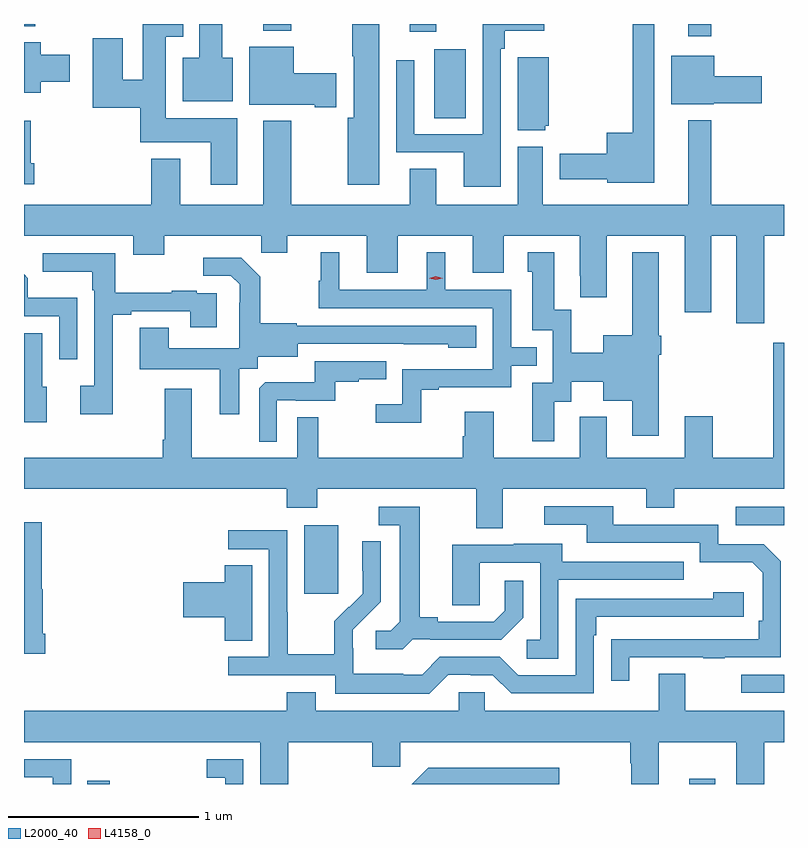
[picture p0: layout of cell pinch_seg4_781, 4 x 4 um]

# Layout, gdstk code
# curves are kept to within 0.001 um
import gdstk
lib = gdstk.Library(unit=1e-6, precision=1e-09)
def R(c, l, rs):  # rectangles x0, y0, x1, y1
    for r in rs: c.add(gdstk.rectangle(r[:2], r[2:], *l))
def P(c, l, *ps):  # polygons
    for p in ps: c.add(gdstk.Polygon(p, *l))
L2000_40 = (2000, 40)
L4158_0 = (4158, 0)

pinch_seg4_781 = lib.new_cell('pinch_seg4_781')
R(pinch_seg4_781, L2000_40, [(795.772,825.903,795.891,825.919), (798.941,825.903,799.077,825.931), (799.215,826.383,799.439,826.479), (796.913,826.905,797.092,827.266), (799.185,827.265,799.439,827.361), (797.597,829.408,797.764,829.771), (798.935,829.839,799.057,829.903), (797.468,829.863,797.608,829.903), (796.697,829.868,796.845,829.903), (795.439,829.892,795.497,829.903)])
P(pinch_seg4_781, L2000_40, [(797.949,829.772),(797.969,829.772),(797.969,829.868),(798.178,829.868),(798.178,829.903),(797.853,829.903),(797.853,829.323),(797.493,829.323),(797.493,829.711),(797.397,829.711),(797.397,829.227),(797.753,829.227),(797.753,829.046),(797.949,829.046)],
  [(796.537,829.726),(796.483,829.726),(796.483,829.903),(796.361,829.903),(796.361,829.726),(796.274,829.726),(796.274,829.496),(796.537,829.496)],
  [(798.757,829.903),(798.643,829.903),(798.643,829.33),(798.506,829.33),(798.506,829.22),(798.258,829.22),(798.258,829.085),(798.51,829.085),(798.51,829.067),(798.757,829.067)],
  [(797.308,829.903),(797.167,829.903),(797.167,829.732),(797.174,829.732),(797.174,829.41),(797.143,829.41),(797.143,829.056),(797.308,829.056)],
  [(796.561,829.408),(796.186,829.408),(796.186,829.835),(796.276,829.835),(796.276,829.903),(796.064,829.903),(796.064,829.61),(795.958,829.61),(795.958,829.828),(795.8,829.828),(795.8,829.463),(796.052,829.463),(796.052,829.28),(796.421,829.28),(796.421,829.056),(796.561,829.056)],
  [(795.526,829.598),(795.679,829.598),(795.679,829.74),(795.526,829.74),(795.526,829.807),(795.439,829.807),(795.439,829.542),(795.526,829.542)],
  [(797.083,829.644),(796.858,829.644),(796.858,829.783),(796.625,829.783),(796.625,829.478),(796.97,829.478),(796.97,829.466),(797.083,829.466)],
  [(799.068,829.487),(799.321,829.487),(799.321,829.629),(799.072,829.629),(799.072,829.735),(798.845,829.735),(798.845,829.481),(799.068,829.481)],
  [(798.183,829.368),(798.202,829.368),(798.202,829.729),(798.038,829.729),(798.038,829.343),(798.183,829.343)],
  [(799.335,828.788),(799.439,828.788),(799.439,828.952),(799.057,828.952),(799.057,829.396),(798.935,829.396),(798.935,828.952),(798.169,828.952),(798.169,829.258),(798.038,829.258),(798.038,828.952),(797.608,828.952),(797.608,829.142),(797.468,829.142),(797.468,828.952),(796.845,828.952),(796.845,829.393),(796.697,829.393),(796.697,828.952),(796.261,828.952),(796.261,829.195),(796.109,829.195),(796.109,828.952),(795.439,828.952),(795.439,828.788),(796.013,828.788),(796.013,828.689),(796.177,828.689),(796.177,828.788),(796.687,828.788),(796.687,828.698),(796.825,828.698),(796.825,828.788),(797.243,828.788),(797.243,828.594),(797.407,828.594),(797.407,828.788),(797.801,828.788),(797.801,828.594),(797.965,828.594),(797.965,828.788),(798.365,828.788),(798.365,828.577),(798.366,828.577),(798.366,828.465),(798.505,828.465),(798.505,828.788),(798.917,828.788),(798.917,828.387),(799.057,828.387),(799.057,828.788),(799.187,828.788),(799.187,828.327),(799.335,828.327)],
  [(795.494,829.171),(795.474,829.171),(795.474,829.393),(795.439,829.393),(795.439,829.059),(795.494,829.059)],
  [(797.529,827.979),(797.623,827.979),(797.623,827.991),(798.003,827.991),(798.003,828.105),(798.137,828.105),(798.137,828.201),(798.003,828.201),(798.003,828.504),(797.656,828.504),(797.656,828.703),(797.558,828.703),(797.558,828.504),(797.098,828.504),(797.098,828.703),(797,828.703),(797,828.552),(796.989,828.552),(796.989,828.408),(797.907,828.408),(797.907,828.087),(797.43,828.087),(797.43,827.902),(797.289,827.902),(797.289,827.804),(797.529,827.804)],
  [(798.229,827.914),(798.319,827.914),(798.319,828.02),(798.488,828.02),(798.488,827.921),(798.641,827.921),(798.641,827.736),(798.781,827.736),(798.781,828.161),(798.794,828.161),(798.794,828.261),(798.781,828.261),(798.781,828.703),(798.641,828.703),(798.641,828.265),(798.488,828.265),(798.488,828.172),(798.318,828.172),(798.318,828.399),(798.229,828.399),(798.229,828.703),(798.089,828.703),(798.089,828.6),(798.113,828.6),(798.113,828.291),(798.222,828.291),(798.222,828.015),(798.113,828.015),(798.113,827.706),(798.229,827.706)],
  [(795.907,828.372),(796.003,828.372),(796.003,828.39),(796.313,828.39),(796.313,828.306),(796.453,828.306),(796.453,828.486),(796.349,828.486),(796.349,828.499),(796.217,828.499),(796.217,828.488),(795.919,828.488),(795.919,828.696),(795.537,828.696),(795.537,828.599),(795.798,828.599),(795.798,828.503),(795.81,828.503),(795.81,827.998),(795.735,827.998),(795.735,827.85),(795.907,827.85)],
  [(796.573,828.088),(796.668,828.088),(796.668,828.152),(796.879,828.152),(796.879,828.219),(797.673,828.218),(797.673,828.2),(797.818,828.2),(797.818,828.315),(796.875,828.315),(796.875,828.328),(796.683,828.328),(796.683,828.573),(796.583,828.673),(796.383,828.673),(796.383,828.579),(796.527,828.579),(796.574,828.532),(796.574,828.437),(796.572,828.437),(796.572,828.196),(796.201,828.196),(796.201,828.305),(796.049,828.305),(796.049,828.086),(796.469,828.086),(796.469,827.85),(796.573,827.85)],
  [(795.72,828.463),(795.459,828.463),(795.459,828.566),(795.439,828.586),(795.439,828.366),(795.624,828.366),(795.624,828.138),(795.72,828.138)],
  [(795.559,827.994),(795.534,827.994),(795.534,828.276),(795.439,828.276),(795.439,827.807),(795.559,827.807)],
  [(796.181,827.983),(796.181,827.716),(796.169,827.716),(796.169,827.62),(795.439,827.62),(795.439,827.456),(796.823,827.456),(796.823,827.357),(796.983,827.357),(796.983,827.456),(797.819,827.456),(797.819,827.248),(797.959,827.248),(797.959,827.456),(798.713,827.456),(798.713,827.357),(798.861,827.357),(798.861,827.456),(799.439,827.456),(799.439,828.226),(799.382,828.226),(799.382,827.62),(799.065,827.62),(799.065,827.839),(798.917,827.839),(798.917,827.62),(798.505,827.62),(798.505,827.836),(798.365,827.836),(798.365,827.62),(797.911,827.62),(797.911,827.863),(797.759,827.863),(797.759,827.733),(797.747,827.733),(797.747,827.62),(796.987,827.62),(796.987,827.834),(796.878,827.834),(796.878,827.62),(796.321,827.62),(796.321,827.983)],
  [(796.77,827.922),(796.87,827.922),(796.87,827.919),(797.078,827.919),(797.078,828.021),(797.201,828.021),(797.201,828.032),(797.345,828.032),(797.345,828.129),(796.968,828.129),(796.968,828.017),(796.709,828.017),(796.677,827.985),(796.677,827.705),(796.77,827.705)],
  [(798.625,826.569),(799.015,826.569),(799.015,826.564),(799.127,826.564),(799.127,826.569),(799.422,826.569),(799.422,827.076),(799.332,827.166),(799.092,827.166),(799.092,827.268),(798.541,827.268),(798.541,827.364),(798.177,827.364),(798.177,827.268),(798.401,827.268),(798.401,827.172),(798.996,827.172),(798.996,827.069),(799.273,827.069),(799.326,827.016),(799.326,826.762),(799.306,826.762),(799.306,826.665),(798.529,826.664),(798.529,826.446),(798.625,826.446)],
  [(797.484,826.665),(797.578,826.665),(797.578,826.662),(797.95,826.662),(798.066,826.778),(798.066,826.972),(797.969,826.972),(797.969,826.815),(797.912,826.758),(797.617,826.758),(797.617,826.781),(797.521,826.781),(797.521,827.361),(797.307,827.361),(797.307,827.265),(797.417,827.265),(797.417,826.757),(797.37,826.71),(797.289,826.71),(797.289,826.613),(797.432,826.613)],
  [(795.551,826.693),(795.538,826.693),(795.538,826.929),(795.533,826.929),(795.533,827.281),(795.439,827.281),(795.439,826.589),(795.551,826.589)],
  [(797.673,826.479),(797.789,826.479),(797.789,826.476),(797.907,826.476),(798.003,826.38),(798.438,826.38),(798.438,826.685),(798.451,826.685),(798.451,826.782),(799.228,826.782),(799.228,826.912),(799.067,826.912),(799.067,826.878),(798.342,826.878),(798.342,826.476),(798.039,826.476),(797.943,826.572),(797.628,826.572),(797.535,826.479),(797.435,826.479),(797.435,826.483),(797.172,826.483),(797.172,826.617),(797.17,826.617),(797.17,826.714),(797.316,826.862),(797.316,827.18),(797.22,827.18),(797.22,827.026),(797.222,827.026),(797.222,826.904),(797.151,826.833),(797.148,826.836),(797.071,826.759),(797.071,826.585),(796.827,826.585),(796.827,826.808),(796.824,826.808),(796.824,827.238),(796.515,827.238),(796.515,827.139),(796.728,827.139),(796.728,826.572),(796.515,826.572),(796.515,826.476),(797.076,826.476),(797.076,826.379),(797.573,826.379)],
  [(798.252,826.977),(798.911,826.977),(798.911,827.073),(798.271,827.073),(798.271,827.167),(798.017,827.167),(798.017,827.163),(797.693,827.163),(797.693,826.843),(797.838,826.843),(797.838,827.067),(798.156,827.067),(798.156,826.662),(798.084,826.662),(798.084,826.561),(798.252,826.561)],
  [(796.639,827.054),(796.496,827.054),(796.496,826.964),(796.278,826.964),(796.278,826.781),(796.496,826.781),(796.496,826.657),(796.639,826.657)],
  [(796.83,826.124),(797.272,826.124),(797.272,825.993),(797.418,825.993),(797.418,826.124),(798.629,826.124),(798.629,826.011),(798.634,826.011),(798.634,825.903),(798.781,825.903),(798.781,826.124),(799.187,826.124),(799.187,825.903),(799.335,825.903),(799.335,826.124),(799.439,826.124),(799.439,826.288),(798.919,826.288),(798.919,826.483),(798.779,826.483),(798.779,826.288),(797.865,826.288),(797.865,826.386),(797.727,826.386),(797.727,826.288),(796.975,826.288),(796.975,826.387),(796.823,826.387),(796.823,826.288),(795.439,826.288),(795.439,826.124),(796.682,826.124),(796.682,825.903),(796.83,825.903)],
  [(795.687,826.032),(795.439,826.032),(795.439,825.939),(795.591,825.939),(795.591,825.903),(795.687,825.903)],
  [(796.593,826.032),(796.402,826.032),(796.402,825.937),(796.497,825.937),(796.497,825.903),(796.593,825.903)],
  [(798.256,825.988),(797.566,825.988),(797.481,825.903),(798.256,825.903)])
P(pinch_seg4_781, L4158_0, [(797.607,828.556),(797.571,828.566),(797.571,828.566),(797.571,828.566),(797.607,828.576),(797.643,828.566),(797.643,828.566),(797.643,828.566)])

lib.write_gds('pinch_seg4_781.gds')
